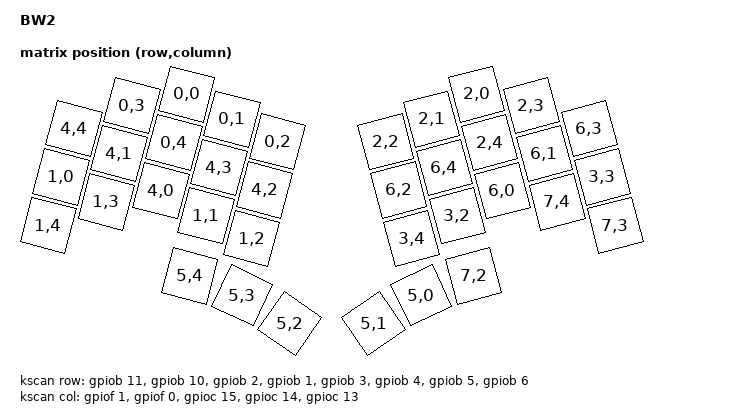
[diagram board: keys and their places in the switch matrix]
/*
 * Copyright (c) 2020 The ZMK Contributors
 *
 * SPDX-License-Identifier: MIT
 */

/dts-v1/;
#include <st/f0/stm32f072Xb.dtsi>
#include <st/f0/stm32f072v(8-b)tx-pinctrl.dtsi>
#include <physical_layouts.dtsi>
#include <dt-bindings/zmk/matrix_transform.h>

/ {
    model = "BW2";
    compatible = "hazel,bw2", "st,stm32f072";

    chosen {
        zephyr,sram = &sram0;
        zephyr,flash = &flash0;
        zmk,kscan = &kscan;
        zmk,matrix_transform = &transform;
        zmk,physical-layout = &layout_0;
    };

    transform: transform {
        compatible = "zmk,matrix-transform";
        columns = <5>;
        rows = <8>;

        map = <
            RC(0,0) RC(0,1) RC(0, 2) RC(0, 3) RC(0, 4) RC(4,4) RC(4,3) RC(4,2) RC(4,1) RC(4,0)
            RC(1,0) RC(1,1) RC(1, 2) RC(1, 3) RC(1, 4) RC(5,4) RC(5,3) RC(5,2) RC(5,1) RC(5,0)
            RC(2,0) RC(2,1) RC(2, 2) RC(2, 3) RC(2, 4) RC(6,4) RC(6,3) RC(6,2) RC(6,1) RC(6,0)
                            RC(3,2) RC(3,3) RC(3,4) RC(7, 4) RC(7,3) RC(7,2)
        >;
    };


    kscan: kscan {
        compatible = "zmk,kscan-gpio-matrix";
        label = "KSCAN";

        diode-direction = "col2row";

        col-gpios
        = <&gpiof 1 (GPIO_ACTIVE_HIGH | GPIO_PULL_DOWN)>
        , <&gpiof 0 (GPIO_ACTIVE_HIGH | GPIO_PULL_DOWN)>
        , <&gpioc 15 (GPIO_ACTIVE_HIGH | GPIO_PULL_DOWN)>
        , <&gpioc 14 (GPIO_ACTIVE_HIGH | GPIO_PULL_DOWN)>
        , <&gpioc 13 (GPIO_ACTIVE_HIGH | GPIO_PULL_DOWN)>
        ;


        row-gpios
        = <&gpiob 11 (GPIO_ACTIVE_HIGH | GPIO_PULL_DOWN)>
        , <&gpiob 10 (GPIO_ACTIVE_HIGH | GPIO_PULL_DOWN)>
        , <&gpiob 2 (GPIO_ACTIVE_HIGH | GPIO_PULL_DOWN)>
        , <&gpiob 1 (GPIO_ACTIVE_HIGH | GPIO_PULL_DOWN)>
        , <&gpiob 3 (GPIO_ACTIVE_HIGH | GPIO_PULL_DOWN)>
        , <&gpiob 4 (GPIO_ACTIVE_HIGH | GPIO_PULL_DOWN)>
        , <&gpiob 5 (GPIO_ACTIVE_HIGH | GPIO_PULL_DOWN)>
        , <&gpiob 6 (GPIO_ACTIVE_HIGH | GPIO_PULL_DOWN)>
        ;
    };

};


zephyr_udc0: &usb {
    status = "okay";

    pinctrl-0 = <&usb_dm_pa11 &usb_dp_pa12>;
    pinctrl-names = "default";
};

&clk_hsi {
    status = "okay";
};

&clk_hsi48 {
    status = "okay";
};

&pll {
    prediv = <1>;
    mul = <6>;
    clocks = <&clk_hsi>;
    status = "okay";
};

&rcc {
    clocks = <&pll>;
    clock-frequency = <DT_FREQ_M(48)>;
    ahb-prescaler = <1>;
    apb1-prescaler = <1>;
};


&rtc {
    status = "okay";
};

&flash0 {
    /*
     * For more information, see:
     * http: //docs.zephyrproject.org/latest/guides/dts/index.html#flash-partitions
     */
    partitions {
        compatible = "fixed-partitions";
        #address-cells = <1>;
        #size-cells = <1>;

        /* Set 6Kb of storage at the end of the 128Kb of flash */
        storage_partition: partition@3e800 {
            label = "storage";
            reg = <0x0001e800 0x00001800>;
        };
    };

layout_0: layout_0 {
        compatible = "zmk,physical-layout";
        display-name = "Bad Wings";
        transform = &transform;
        keys  //                     w   h    x    y     rot    rx    ry
            = <&key_physical_attrs 100 100  300  100    1500   650   150>
            , <&key_physical_attrs 100 100  400  125    1500   650   150>
            , <&key_physical_attrs 100 100  500  145    1500   650   150>
            , <&key_physical_attrs 100 100  200  150    1500   650   150>
            , <&key_physical_attrs 100 100  300  200    1500   650   150>
            , <&key_physical_attrs 100 100  100  225    1500   650   150>
            , <&key_physical_attrs 100 100  400  225    1500   650   150>
            , <&key_physical_attrs 100 100  500  245    1500   650   150>
            , <&key_physical_attrs 100 100  200  250    1500   650   150>
            , <&key_physical_attrs 100 100  300  300    1500   650   150>
            , <&key_physical_attrs 100 100  100  325    1500   650   150>
            , <&key_physical_attrs 100 100  400  325    1500   650   150>
            , <&key_physical_attrs 100 100  500  345    1500   650   150>
            , <&key_physical_attrs 100 100  200  350    1500   650   150>
            , <&key_physical_attrs 100 100  100  425    1500   650   150>
            , <&key_physical_attrs 100 100  400  450    1500   650   150>
            , <&key_physical_attrs 100 100  575  470    2500   650   150>
            , <&key_physical_attrs 100 100  750  460    3500   650   150>
            , <&key_physical_attrs 100 100  450  460 (-3500)   650   150>
            , <&key_physical_attrs 100 100  625  470 (-2500)   650   150>
            , <&key_physical_attrs 100 100  900  100 (-1500)   650   150>
            , <&key_physical_attrs 100 100  800  125 (-1500)   650   150>
            , <&key_physical_attrs 100 100  700  145 (-1500)   650   150>
            , <&key_physical_attrs 100 100 1000  150 (-1500)   650   150>
            , <&key_physical_attrs 100 100  900  200 (-1500)   650   150>
            , <&key_physical_attrs 100 100  800  225 (-1500)   650   150>
            , <&key_physical_attrs 100 100 1100  225 (-1500)   650   150>
            , <&key_physical_attrs 100 100  700  245 (-1500)   650   150>
            , <&key_physical_attrs 100 100 1000  250 (-1500)   650   150>
            , <&key_physical_attrs 100 100  900  300 (-1500)   650   150>
            , <&key_physical_attrs 100 100  800  325 (-1500)   650   150>
            , <&key_physical_attrs 100 100 1100  325 (-1500)   650   150>
            , <&key_physical_attrs 100 100  700  345 (-1500)   650   150>
            , <&key_physical_attrs 100 100 1000  350 (-1500)   650   150>
            , <&key_physical_attrs 100 100 1100  425 (-1500)   650   150>
            , <&key_physical_attrs 100 100  800  450 (-1500)   650   150>
            ;
    };
};

